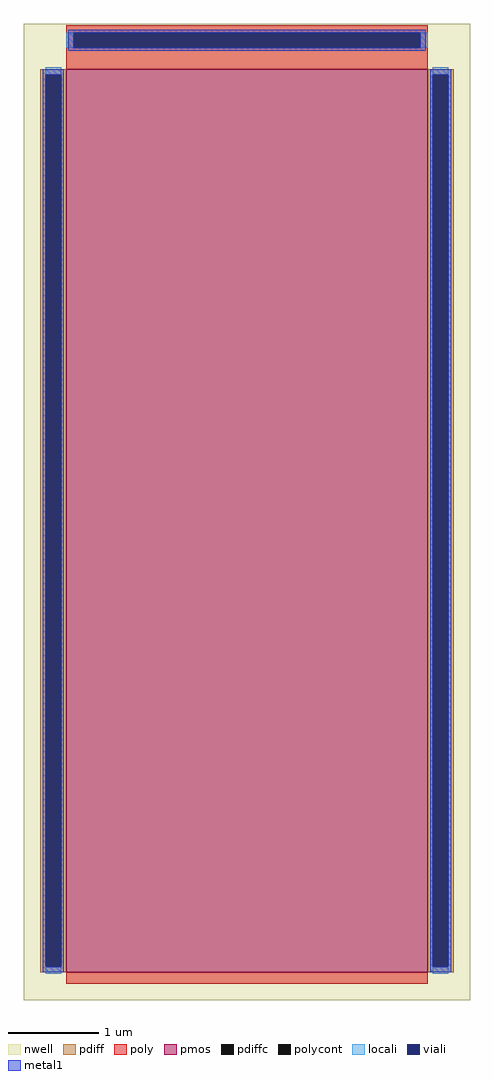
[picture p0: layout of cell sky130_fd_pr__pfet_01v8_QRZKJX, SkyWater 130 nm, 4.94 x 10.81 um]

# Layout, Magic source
magic
tech sky130A
magscale 1 2
<< nwell >>
rect -494 -1098 494 1064
<< pmos >>
rect -400 -1036 400 964
<< pdiff >>
rect -458 952 -400 964
rect -458 -1024 -446 952
rect -412 -1024 -400 952
rect -458 -1036 -400 -1024
rect 400 952 458 964
rect 400 -1024 412 952
rect 446 -1024 458 952
rect 400 -1036 458 -1024
<< pdiffc >>
rect -446 -1024 -412 952
rect 412 -1024 446 952
<< poly >>
rect -400 1045 400 1061
rect -400 1011 -384 1045
rect 384 1011 400 1045
rect -400 964 400 1011
rect -400 -1062 400 -1036
<< polycont >>
rect -384 1011 384 1045
<< locali >>
rect -400 1011 -384 1045
rect 384 1011 400 1045
rect -446 952 -412 968
rect -446 -1040 -412 -1024
rect 412 952 446 968
rect 412 -1040 446 -1024
<< viali >>
rect -384 1011 384 1045
rect -446 -1024 -412 952
rect 412 -1024 446 952
<< metal1 >>
rect -396 1045 396 1051
rect -396 1011 -384 1045
rect 384 1011 396 1045
rect -396 1005 396 1011
rect -452 952 -406 964
rect -452 -1024 -446 952
rect -412 -1024 -406 952
rect -452 -1036 -406 -1024
rect 406 952 452 964
rect 406 -1024 412 952
rect 446 -1024 452 952
rect 406 -1036 452 -1024
<< properties >>
string gencell sky130_fd_pr__pfet_01v8
string library sky130
string parameters w 10 l 4 m 1 nf 1 diffcov 100 polycov 100 guard 0 glc 0 grc 0 gtc 0 gbc 0 tbcov 100 rlcov 100 topc 1 botc 0 poverlap 0 doverlap 1 lmin 0.15 wmin 0.42 compatible {sky130_fd_pr__pfet_01v8  sky130_fd_pr__pfet_01v8_lvt sky130_fd_pr__pfet_01v8_hvt  sky130_fd_pr__pfet_g5v0d10v5} full_metal 0 viasrc 100 viadrn 100 viagate 100 viagb 0 viagr 0 viagl 0 viagt 0
<< end >>
